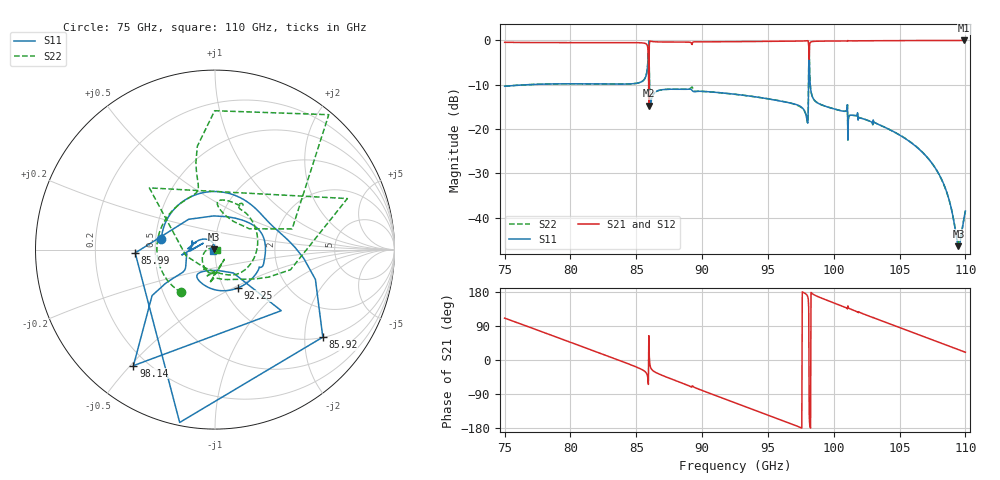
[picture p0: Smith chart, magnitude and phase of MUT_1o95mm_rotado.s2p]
! TOUCHSTONE file generated by CST MICROWAVE STUDIO
! Date and time: Mon Feb  5 15:19:28 2024
! Project name: material_rotado.cst
! Header version: 2018
! Port assignment regex: !\s*Touchstone port\s*([0-9]+)\s*=\s*(CST MWS port|CST DS port)\s*([0-9]+|Zmin|Zmax)\s*\(\"(.*)\"\)(\s*mode\s*([0-9]+))?.*
! Touchstone port assignment:
! Touchstone port 1 = CST MWS port 1 ("")
! Touchstone port 2 = CST MWS port 2 ("")
# GHz S MA R 376.7
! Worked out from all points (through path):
!   1001 points, 75 GHz to 110 GHz, reference 376.7 ohm
!   highest |S21| = 0.00 dB at 109.9 GHz (marker M1); lowest = -14.7 dB at 85.95 GHz (marker M2)
!   lowest |S11| = -46.5 dB at 109.5 GHz (marker M3), VSWR 1.01, Z = 373 + j1.18 ohm
!   |S11| at or under -10 dB: start of sweep to 76.71 GHz; 86.01 GHz to 98.09 GHz (12.08 GHz wide, 13.1 % of centre); 98.22 GHz to end of sweep
!   |S22| runs from -45.6 to -0.1 dB; largest |S21 - S12| = 0
!   S11 on the Smith chart (normalised r, x): 75 GHz: 0.54, +0.07; 85.92 GHz: 1.01, -2.45; 85.99 GHz: 0.38, -0.02; 92.25 GHz: 1.17, -0.53; 98.14 GHz: 0.15, -0.51; 110 GHz: 0.98, -0.02
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75  0.3039 169.3  0.9527 110.6  0.9527 110.6  0.3039 -128.2
77.87  0.3211 131.7  0.9459 74.1  0.9459 74.1  0.3211 -163.5
80.845  0.3238 91.8  0.9462 35.9  0.9462 35.9  0.3238 160.0
83.89  0.3213 49.9  0.947 -3.4  0.947 -3.4  0.3213 123.3
85.745  0.4009 9.1  0.9161 -33.5  0.9161 -33.5  0.4009 104.0
85.92  0.7737 -39.1  0.6335 -64.5  0.6335 -64.5  0.7737 90.1
85.955  0.9829 -101.6  0.1833 64.1  0.1833 64.1  0.9832 49.9
85.99  0.445 -177.6  0.8955 8.7  0.8955 8.7  0.445 15.0
86.2  0.2289 44.4  0.9735 -26.0  0.9735 -26.0  0.229 83.7
86.69  0.2723 21.4  0.9622 -36.4  0.9622 -36.4  0.2723 85.8
89.63  0.2664 -23.7  0.9639 -75.4  0.9639 -75.4  0.2664 52.9
92.255  0.249 -58.8  0.9685 -109.6  0.9685 -109.6  0.249 19.6
92.5  0.2467 -62.0  0.9691 -112.7  0.9691 -112.7  0.2467 16.6
97.89  0.1451 -121.0  0.9897 174.1  0.9897 174.1  0.1447 -71.0
98.135  0.7903 -125.1  0.6127 -142.0  0.6127 -142.0  0.7903 21.1
98.345  0.2387 -145.0  0.9711 175.7  0.9711 175.7  0.2387 -43.7
100.865  0.1584 -171.7  0.9873 139.2  0.9873 139.2  0.1585 -89.9
104.19  0.09935 146.5  0.9951 96.2  0.9951 96.2  0.09936 -134.1
107.795  0.03467 105.4  0.9994 49.1  0.9994 49.1  0.03459 172.4
109.475  0.004748 160.5  0.9999 27.2  0.9999 27.2  0.005241 71.3
109.86  0.009167 -141.7  0.9999 22.2  0.9999 22.2  0.009323 6.9
110  0.01186 -136.1  0.9999 20.4  0.9999 20.4  0.01186 -3.0
